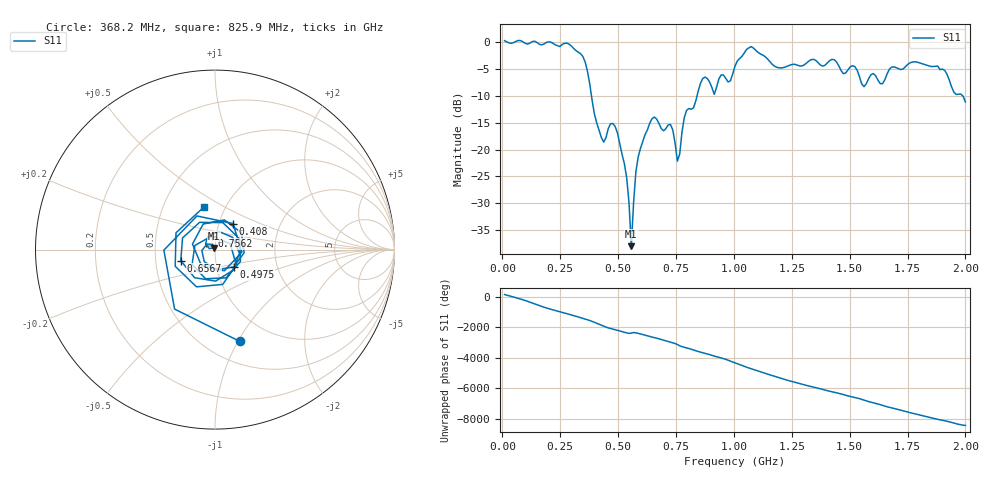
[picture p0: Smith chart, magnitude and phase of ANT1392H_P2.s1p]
!Created with skrf (http://scikit-rf.org).
# Hz S RI R 50.0
!freq ReS11 ImS11
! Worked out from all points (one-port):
!   201 points, 10 MHz to 2 GHz, reference 50 ohm
!   lowest |S11| = -38.0 dB at 557.2 MHz (marker M1), VSWR 1.03, Z = 49.2 + j0.963 ohm
!   |S11| at or under -10 dB: 385.1 MHz to 841.2 MHz (456.1 MHz wide, 74.4 % of centre); 1.988 GHz to end of sweep
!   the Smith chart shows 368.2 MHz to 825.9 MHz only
!   S11 on the Smith chart (normalised r, x): 368.2 MHz: 0.72, -1.02; 408 MHz: 1.17, +0.35; 497.6 MHz: 1.21, -0.24; 656.8 MHz: 0.68, -0.09; 756.2 MHz: 0.95, +0.14; 825.9 MHz: 0.79, +0.40
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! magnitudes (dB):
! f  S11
! 10 MHz  0.2
! 258.8 MHz  -0.4
! 338.4 MHz  -2.2
! 368.2 MHz  -5.5
! 408 MHz  -15.1
! 437.9 MHz  -18.6
! 467.7 MHz  -15.2
! 497.6 MHz  -16.9
! 507.5 MHz  -19.0
! 537.4 MHz  -25.3
! 557.2 MHz  -38.0
! 577.1 MHz  -24.1
! 587.1 MHz  -21.3
! 656.8 MHz  -14.0
! 726.4 MHz  -15.4
! 756.2 MHz  -22.2
! 786.1 MHz  -14.0
! 825.9 MHz  -12.2
! 865.7 MHz  -6.8
! 915.5 MHz  -9.7
! 1.005 GHz  -4.5
! 1.075 GHz  -0.9
! 1.254 GHz  -4.2
! 1.502 GHz  -4.7
! 1.562 GHz  -8.3
! 1.751 GHz  -4.2
! 1.91 GHz  -5.3
! 2 GHz  -11.2
